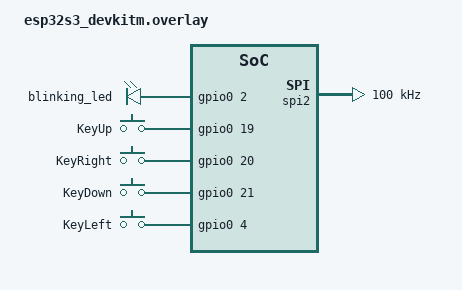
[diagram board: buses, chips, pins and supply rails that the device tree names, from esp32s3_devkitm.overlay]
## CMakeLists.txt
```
cmake_minimum_required(VERSION 3.20.0)

find_package(Zephyr REQUIRED HINTS $ENV{ZEPHYR_BASE})
project(doom-esp32s3)

target_sources(app PRIVATE src/main.c)

#export flags to external lib

zephyr_get_include_directories_for_lang_as_string(          C z_includes)
zephyr_get_system_include_directories_for_lang_as_string(   C z_system_includes)
zephyr_get_compile_definitions_for_lang_as_string(          C z_compile_definitions)
zephyr_get_compile_options_for_lang_as_string(              C z_compile_options)

set(ESP_MD5_HEADER "/home/rovermaker/source/zephyr-projects/zephyr-doom/modules/hal/espressif/zephyr/esp32s3/../../components/wpa_supplicant/src/crypto")

string(REPLACE ESP_MD5_HEADER "" z_includes ${z_includes})

set(external_project_cflags
    "${z_includes} ${z_system_includes} ${z_compile_definitions} ${z_compile_options}"
)

# add_subdirectory(${CMAKE_SOURCE_DIR}/prboom-wad-tables) 
# add_subdirectory(${CMAKE_SOURCE_DIR}/prboom)

include(ExternalProject)

set(prboom_wad_src_dir ${CMAKE_CURRENT_SOURCE_DIR}/prboom-wad-tables)
set(prboom_wad_build_dir ${CMAKE_CURRENT_BINARY_DIR}/prboom-wad-tables)

set(PRBOOM_WAD_DIR ${prboom_wad_build_dir}/lib)
set(PRBOOM_WAD_INCLUDE_DIR ${prboom_wad_src_dir}/include)

if(CMAKE_GENERATOR STREQUAL "Unix Makefiles")
# https://www.gnu.org/software/make/manual/html_node/MAKE-Variable.html
set(submake "$(MAKE)")
else() # Obviously no MAKEFLAGS. Let's hope a "make" can be found somewhere.
set(submake "make")
endif()

ExternalProject_Add(
    prboom_wad
    PREFIX ${prboom_wad_build_dir}
    SOURCE_DIR ${prboom_wad_src_dir}
    BINARY_DIR ${prboom_wad_src_dir}
    DOWNLOAD_COMMAND ""
    CONFIGURE_COMMAND ""
    BUILD_COMMAND
    ${submake}
    PREFIX=${prboom_wad_build_dir}
    CC=${CMAKE_C_COMPILER}
    AR=${CMAKE_AR}
    CFLAGS=${external_project_cflags}
    INSTALL_COMMAND ""      # This particular build system has no install command
    BUILD_BYPRODUCTS ${PRBOOM_WAD_DIR}/libprboom_wad_tables.a    
)

add_library(prboom_wad_lib STATIC IMPORTED GLOBAL)
add_dependencies(
    prboom_wad_lib
    prboom_wad
)

set_target_properties(prboom_wad_lib PROPERTIES IMPORTED_LOCATION ${PRBOOM_WAD_DIR}/libprboom_wad_tables.a)
set_target_properties(prboom_wad_lib PROPERTIES INTERFACE_INCLUDE_DIRECTORIES ${PRBOOM_WAD_INCLUDE_DIR})

# Build prboom_esp32s3.a
set(prboom_esp32s3_src_dir ${CMAKE_CURRENT_SOURCE_DIR}/prboom-esp32-compat)
set(prboom_esp32s3_build_dir ${CMAKE_CURRENT_BINARY_DIR}/prboom-esp32-compat)

set(PRBOOM_ESP32S3_DIR ${prboom_esp32s3_build_dir}/lib)
set(PRBOOM_ESP32S3_INCLUDE_DIR ${prboom_esp32s3_src_dir}/include)

ExternalProject_Add(
    prboom_esp32s3
    PREFIX ${prboom_esp32s3_build_dir}
    SOURCE_DIR ${prboom_esp32s3_src_dir}
    BINARY_DIR ${prboom_esp32s3_src_dir}
    DOWNLOAD_COMMAND ""
    CONFIGURE_COMMAND ""
    BUILD_COMMAND
    ${submake}
    PREFIX=${prboom_esp32s3_build_dir}
    CC=${CMAKE_C_COMPILER}
    AR=${CMAKE_AR}
    CFLAGS=${external_project_cflags}
    INSTALL_COMMAND ""      # This particular build system has no install command
    BUILD_BYPRODUCTS ${PRBOOM_ESP32S3_DIR}/libprboom_esp32s3.a
    DEPENDS zephyr_interface    
)

add_library(prboom_esp32s3_lib STATIC IMPORTED GLOBAL)
add_dependencies(
    prboom_esp32s3_lib
    prboom_esp32s3
)

set_target_properties(prboom_esp32s3_lib PROPERTIES IMPORTED_LOCATION ${PRBOOM_ESP32S3_DIR}/libprboom_esp32s3.a)
set_target_properties(prboom_esp32s3_lib PROPERTIES INTERFACE_INCLUDE_DIRECTORIES ${PRBOOM_ESP32S3_INCLUDE_DIR})
target_link_libraries(prboom_esp32s3_lib INTERFACE kernel)

# Build prboom.a

set(prboom_src_dir ${CMAKE_CURRENT_SOURCE_DIR}/prboom)
set(prboom_build_dir ${CMAKE_CURRENT_BINARY_DIR}/prboom)

set(PRBOOM_DIR ${prboom_build_dir}/lib)
set(PRBOOM_INCLUDE_DIR ${prboom_src_dir}/include)

ExternalProject_Add(
    prboom
    PREFIX ${prboom_build_dir}
    SOURCE_DIR ${prboom_src_dir}
    BINARY_DIR ${prboom_src_dir}
    DOWNLOAD_COMMAND ""
    CONFIGURE_COMMAND ""
    BUILD_COMMAND
    ${submake}
    PREFIX=${prboom_build_dir}
    CC=${CMAKE_C_COMPILER}
    AR=${CMAKE_AR}
    CFLAGS=${external_project_cflags}
    INSTALL_COMMAND ""      # This particular build system has no install command
    BUILD_BYPRODUCTS ${PRBOOM_DIR}/libprboom.a    
)

add_library(prboom_lib STATIC IMPORTED GLOBAL)
add_dependencies(
    prboom_lib
    prboom
)

set_target_properties(prboom_lib PROPERTIES IMPORTED_LOCATION ${PRBOOM_DIR}/libprboom.a)
set_target_properties(prboom_lib PROPERTIES INTERFACE_INCLUDE_DIRECTORIES ${PRBOOM_INCLUDE_DIR})



target_link_libraries(app PUBLIC prboom_esp32s3_lib prboom_wad_lib prboom_lib)
```

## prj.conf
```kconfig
CONFIG_SPI=y
CONFIG_GPIO=y
CONFIG_THREAD_NAME=y
```

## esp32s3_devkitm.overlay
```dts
/ {
    leds {
        compatible = "gpio-leds";
        blinking_led: blinking_led {
            gpios = <&gpio0 2 GPIO_ACTIVE_HIGH>;
        };
    };
    
    buttons {
        compatible = "gpio-keys";
        button_up: button_up {
            gpios = < &gpio0 19 GPIO_ACTIVE_HIGH >;
            label = "KeyUp";
        };
        button_right: button_right {
            gpios = < &gpio0 20 GPIO_ACTIVE_HIGH >;
            label = "KeyRight";
        };

        button_down: button_down {
            gpios = < &gpio0 21 GPIO_ACTIVE_HIGH >;
            label = "KeyDown";
        };

        button_left: button_left {
            gpios = < &gpio0 4 GPIO_ACTIVE_HIGH >;
            label = "KeyLeft";
        };

    };
};

&spi2 {
    status = "okay";
    clock-frequency = < 100000 >;
};
```

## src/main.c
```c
#include <stdio.h>
#include <zephyr/kernel.h>
#include <zephyr/device.h>
#include <zephyr/drivers/gpio.h>

#include "gamepad.h"

// extern int doom_main(int argc, char const * const *argv);
// extern void spi_lcd_init() ;

/* size of stack area used by each thread */
#define STACKSIZE 1024

/* scheduling priority used by each thread */
#define PRIORITY 7

static const struct gpio_dt_spec led = 
	GPIO_DT_SPEC_GET(DT_NODELABEL(blinking_led), gpios);


// void button_pressed(const struct device* dev, 
// 					struct gpio_callback *cb,
// 					uint32_t pins)
// {
// 	int ret;
// 	ret = gpio_pin_toggle_dt(&led);
// 	if(ret != 0){
// 		printk("Could not toggle LED\n");
// 	}
// }

void blink(void)
{
	int ret;


	// if(!gpio_is_ready_dt(&led));
	// {
	// 	printf("Led not ready\n");
	// 	while (1);
	// }
	ret = gpio_pin_configure_dt(&led, GPIO_OUTPUT_ACTIVE);
	if(ret != 0)
	{
		printf("Error!\n");
		while(1);
	}

	while(1)
	{
		// printk("Blink Thread\n");
		int ret;
		ret = gpio_pin_toggle_dt(&led);
		if(ret != 0){
			printk("Could not toggle LED\n");
		}
		k_msleep(200);
	}
}

K_THREAD_DEFINE(blink0_id, STACKSIZE, blink, NULL, NULL, NULL, PRIORITY, 0, 2000);

int main(void)
{
    printf("Hello Doom! %s\n", CONFIG_BOARD);
    jsInit();
    return 0;
}
```
